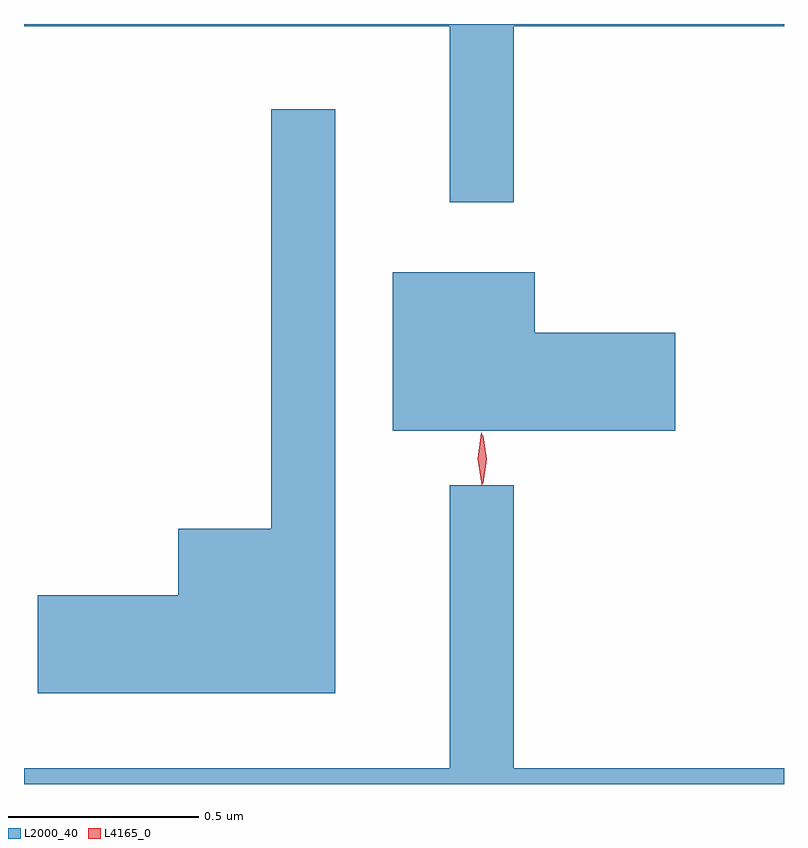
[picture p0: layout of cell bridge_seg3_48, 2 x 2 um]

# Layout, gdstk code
import gdstk
lib = gdstk.Library(unit=1e-6, precision=1e-09)
def P(c, l, *ps):  # polygons
    for p in ps: c.add(gdstk.Polygon(p, *l))
L2000_40 = (2000, 40)
L4165_0 = (4165, 0)

bridge_seg3_48 = lib.new_cell('bridge_seg3_48')
P(bridge_seg3_48, L2000_40, [(1200.009,1165.976),(1200.72,1165.976),(1200.72,1165.982),(1198.72,1165.982),(1198.72,1165.976),(1199.841,1165.976),(1199.841,1165.513),(1200.009,1165.513)],
  [(1199.539,1165.758),(1199.371,1165.758),(1199.371,1164.654),(1199.126,1164.654),(1199.126,1164.479),(1198.756,1164.479),(1198.756,1164.221),(1199.539,1164.221)],
  [(1200.434,1165.169),(1200.064,1165.169),(1200.064,1165.329),(1199.691,1165.329),(1199.691,1164.911),(1200.434,1164.911)],
  [(1200.72,1164.024),(1200.009,1164.024),(1200.009,1164.768),(1199.841,1164.768),(1199.841,1164.024),(1198.72,1164.024),(1198.72,1163.982),(1200.72,1163.982)])
P(bridge_seg3_48, L4165_0, [(1199.924,1164.77),(1199.914,1164.838),(1199.923,1164.906),(1199.924,1164.906),(1199.924,1164.906),(1199.934,1164.838),(1199.926,1164.77),(1199.925,1164.77)],
  [(1199.927,1164.773),(1199.918,1164.836),(1199.927,1164.899),(1199.928,1164.9),(1199.928,1164.899),(1199.938,1164.836),(1199.928,1164.773),(1199.928,1164.773)])

lib.write_gds('bridge_seg3_48.gds')
